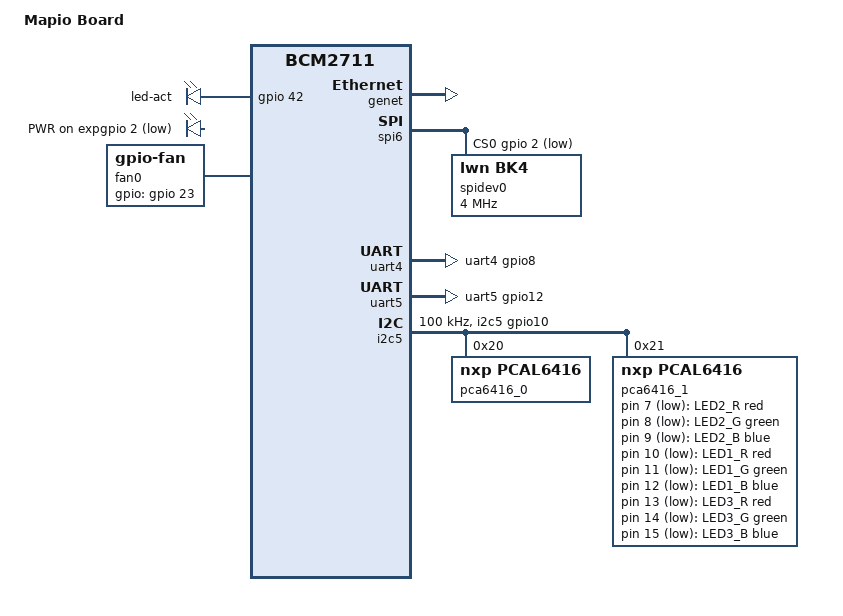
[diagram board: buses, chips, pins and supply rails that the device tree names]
// SPDX-License-Identifier: GPL-2.0
/dts-v1/;
#include "bcm2711-rpi-cm4.dtsi"
#include "bcm283x-rpi-usb-host.dtsi"
#include <dt-bindings/leds/common.h>

/ {
    model = "Mapio Board";

    aliases {
        i2c5 = &i2c5;
        serial4 = &uart4;
        serial5 = &uart5;
        };

    leds {
        led-act {
            gpios = <&gpio 42 GPIO_ACTIVE_HIGH>;
        };

        led-pwr {
            label = "PWR";
            gpios = <&expgpio 2 GPIO_ACTIVE_LOW>;
            default-state = "keep";
            linux,default-trigger = "default-on";
        };
    };

    leds-expander {
        compatible = "gpio-leds";

        led2-r {
            label = "LED2_R";
            gpios = <&pca6416_1 7 GPIO_ACTIVE_LOW>;
            color = <LED_COLOR_ID_RED>;
            default-state = "off";
        };

        led2-g {
            label = "LED2_G";
            gpios = <&pca6416_1 8 GPIO_ACTIVE_LOW>;
            color = <LED_COLOR_ID_GREEN>;
            default-state = "off";
        };

        led2-b {
            label = "LED2_B";
            gpios = <&pca6416_1 9 GPIO_ACTIVE_LOW>;
            color = <LED_COLOR_ID_BLUE>;
            default-state = "off";
        };

        led1-r {
            label = "LED1_R";
            gpios = <&pca6416_1 10 GPIO_ACTIVE_LOW>;
            color = <LED_COLOR_ID_RED>;
            default-state = "off";
        };

        led1-g {
            label = "LED1_G";
            gpios = <&pca6416_1 11 GPIO_ACTIVE_LOW>;
            color = <LED_COLOR_ID_GREEN>;
            default-state = "off";
        };

        led1-b {
            label = "LED1_B";
            gpios = <&pca6416_1 12 GPIO_ACTIVE_LOW>;
            color = <LED_COLOR_ID_BLUE>;
            default-state = "off";
        };

        led3-r {
            label = "LED3_R";
            gpios = <&pca6416_1 13 GPIO_ACTIVE_LOW>;
            color = <LED_COLOR_ID_RED>;
            default-state = "off";
        };

        led3-g {
            label = "LED3_G";
            gpios = <&pca6416_1 14 GPIO_ACTIVE_LOW>;
            color = <LED_COLOR_ID_GREEN>;
            default-state = "off";
        };

        led3-b {
            label = "LED3_B";
            gpios = <&pca6416_1 15 GPIO_ACTIVE_LOW>;
            color = <LED_COLOR_ID_BLUE>;
            default-state = "off";
        };
    };

    fan0: gpio-fan@0 {
        compatible = "gpio-fan";
        gpios = <&gpio 23 0>;
        gpio-fan,speed-map = <0    0>, <5000 1>;
        #cooling-cells = <2>;
    };
};

&ddc0 {
    status = "okay";
};

&ddc1 {
    status = "okay";
};

&gpio {
    gpio-line-names = "ID_SDA",
              "ID_SCL",
              "GPIO2",
              "GPIO3",
              "TXD3",
              "GPIO5",
              "GPIO6",
              "GPIO7",
              "RS485_TX",
              "RS485_RX",
              "SDA5",
              "SCL5",
              "TXD5",
              "RXD5",
              /* Serial port */
              "TXD1",
              "RXD1",
              "GPIO16",
              "GPIO17",
              "GPIO18",
              "SPI6_MISO",
              "SPI6_MOSI",
              "SPI6_SCLK",
              "GPIO22",
              "FAN_PWM",
              "RELAY2_CTRL",
              "RELAY1_CTRL",
              "GPIO26",
              "GPIO27",
              "RGMII_MDIO",
              "RGMIO_MDC",
              /* Used by BT module */
              "CTS0",
              "RTS0",
              "TXD0",
              "RXD0",
              /* Used by Wifi */
              "SD1_CLK",
              "SD1_CMD",
              "SD1_DATA0",
              "SD1_DATA1",
              "SD1_DATA2",
              "SD1_DATA3",
              /* Shared with SPI flash */
              "PWM0_MISO",
              "PWM1_MOSI",
              "STATUS_LED_G_CLK",
              "SPIFLASH_CE_N",
              "SDA0",
              "SCL0",
              "RGMII_RXCLK",
              "RGMII_RXCTL",
              "RGMII_RXD0",
              "RGMII_RXD1",
              "RGMII_RXD2",
              "RGMII_RXD3",
              "RGMII_TXCLK",
              "RGMII_TXCTL",
              "RGMII_TXD0",
              "RGMII_TXD1",
              "RGMII_TXD2",
              "RGMII_TXD3";
    spi6_pins: spi6_pins {
            brcm,pins = <0x13 0x14 0x15>;
            brcm,function = <BCM2835_FSEL_ALT3>;
    };
    
    spi6_cs_pins: spi6_cs_pins {
            brcm,pins = <0x2>;
            brcm,function = <BCM2835_FSEL_GPIO_OUT>;
    };

};

&hdmi0 {
    status = "disabled";
};

&hdmi1 {
    status = "disabled";
};

&genet {
    status = "okay";
};

&pixelvalve0 {
    status = "disabled";
};

&pixelvalve1 {
    status = "disabled";
};

&pixelvalve2 {
    status = "disabled";
};

&pixelvalve4 {
    status = "disabled";
};

&vc4 {
    status = "disabled";
};

&vec {
    status = "disabled";
};

&spi6 {
    pinctrl-names = "default";
    pinctrl-0 = <&spi6_pins &spi6_cs_pins>;
    cs-gpios = <&gpio 2 1>;

    status = "okay";

    spidev0: spidev@0{
                 compatible = "lwn,bk4";
                 reg = <0>;      /* CE0 */
                 #address-cells = <1>;
                 #size-cells = <0>;
                 spi-max-frequency = <4000000>;
             };
};

&cpu_thermal {
    trips {
        cpu_hot: trip-point@0 {
            temperature = <55000>;    /* (millicelsius) Fan started at 55°C */
            hysteresis = <10000>;    /* (millicelsius) Fan stopped at 45°C */
            type = "active";
            };
        };
    cooling-maps {
        map0 {
            trip = <&cpu_hot>;
            cooling-device = <&fan0 1 1>;
            };
        };
};

&uart4 {
        pinctrl-names = "default";
        pinctrl-0 = <&uart4_gpio8>;
        status = "okay";
};

&uart5 {
        pinctrl-names = "default";
        pinctrl-0 = <&uart5_gpio12>;
        status = "okay";
};

&ddc0 {
    status = "disabled";
};

&ddc1 {
    status = "disabled";
};

&i2c0 {
    status = "disabled";
};

&i2c1 {
    status = "disabled";
};

&i2c3 {
    status = "disabled";
};

&i2c4 {
    status = "disabled";
};

&i2c6 {
    status = "disabled";
};


&i2c5 {
        pinctrl-names = "default";
        pinctrl-0 = <&i2c5_gpio10>;
        status = "okay";
        clock-frequency = <100000>;

        pca6416_0: gpio@20 {
                compatible = "nxp,pcal6416";
                reg = <0x20>;
                gpio-controller;
                #gpio-cells = <2>;
                gpio-line-names = 
                "BUTTON_DOWN",
                "BUTTON_UP",
                "RADIO4_EN",
                "RADIO4_INT",
                "RADIO4_CS_N",
                "RADIO4_RST_N",
                "RADIO3_INT",
                "RADIO1_INT",
                "RADIO2_INT",
                "RADIO2_EN",
                "RADIO2_CS_N",
                "RADIO3_INT_2",
                "P_BUSY",
                "P_RST",
                "P_DC",
                "CH_INT";
        };

        pca6416_1: gpio@21 {
                compatible = "nxp,pcal6416";
                reg = <0x21>;
                gpio-controller;
                #gpio-cells = <2>;
				gpio-line-names = 
                "RADIO2_RST_N",
                "RADIO3_EN",
                "RADIO1_EN",
                "RADIO1_CS_N",
                "RADIO1_RST_N",
                "RADIO3_CS_N",
                "RADIO3_RST_N",
                "LED2_R",
                "LED2_G",
                "LED2_B",
                "LED1_R",
                "LED1_G",
                "LED1_B",
                "LED3_R",
                "LED3_G",
                "LED3_B";
        };
};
